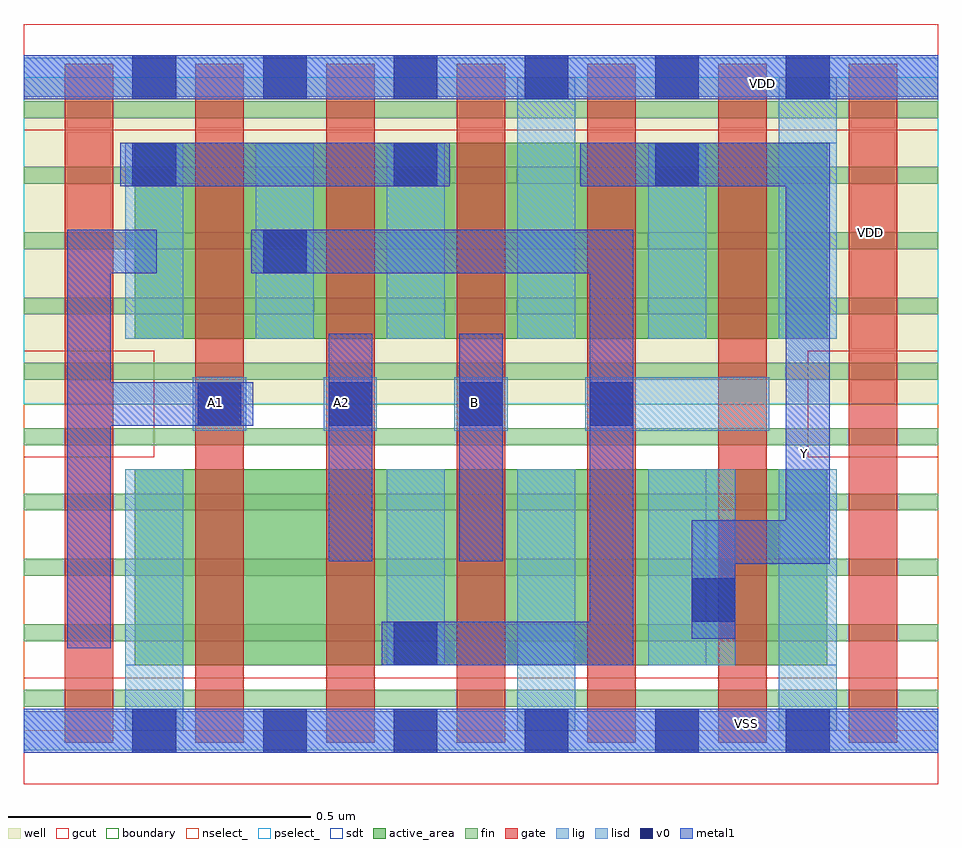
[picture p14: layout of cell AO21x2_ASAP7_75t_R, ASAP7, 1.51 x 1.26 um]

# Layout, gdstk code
import gdstk
lib = gdstk.Library(unit=1e-6, precision=2.5e-10)
def R(c, l, rs):  # rectangles x0, y0, x1, y1
    for r in rs: c.add(gdstk.rectangle(r[:2], r[2:], *l))
def A(c, l, x, y, w, h, nx, ny, dx, dy):  # array of equal rectangles
    R(c, l, [(x+i*dx, y+j*dy, x+i*dx+w, y+j*dy+h) for i in range(nx) for j in range(ny)])
def P(c, l, *ps):  # polygons
    for p in ps: c.add(gdstk.Polygon(p, *l))
well = (1, 0)
fin = (2, 0)
gate = (7, 0)
gcut = (10, 0)
active_area = (11, 0)
nselect_ = (12, 0)
pselect_ = (13, 0)
lig = (16, 0)
lisd = (17, 0)
v0 = (18, 0)
metal1 = (19, 0)
sdt = (88, 0)
boundary = (100, 0)

ao21x2_asap7_75t_r = lib.new_cell('AO21x2_ASAP7_75t_R')
R(ao21x2_asap7_75t_r, well, [(0,0.54,1.512,1.08)])
A(ao21x2_asap7_75t_r, fin, 0, 0.04, 1.512, 0.028, 1, 10, 0, 0.108)
A(ao21x2_asap7_75t_r, gate, 0.068, -0.02, 0.08, 1.122, 4, 1, 0.216, 0)
A(ao21x2_asap7_75t_r, gate, 0.932, -0.02, 0.08, 1.122, 3, 1, 0.216, 0)
R(ao21x2_asap7_75t_r, gate, [(0.716,-0.02,0.796,1.102), (0.932,-0.02,1.012,1.102)])
R(ao21x2_asap7_75t_r, gcut, [(0,-0.088,1.512,0.088), (0,0.452,0.216,0.628), (1.296,0.452,1.512,0.628), (0,0.992,1.512,1.168)])
R(ao21x2_asap7_75t_r, active_area, [(0.184,0.108,1.328,0.432), (0.184,0.648,1.328,0.972)])
R(ao21x2_asap7_75t_r, nselect_, [(0,0,1.512,0.54)])
R(ao21x2_asap7_75t_r, pselect_, [(0,0.54,1.512,1.08)])
A(ao21x2_asap7_75t_r, lig, 0.28, 0.496, 0.088, 0.088, 3, 1, 0.216, 0)
R(ao21x2_asap7_75t_r, lig, [(0,-0.032,1.512,0.032), (0.928,0.496,1.232,0.584), (0,1.048,1.512,1.112)])
A(ao21x2_asap7_75t_r, lisd, 0.168, 0.648, 0.096, 0.324, 5, 1, 0.216, 0)
R(ao21x2_asap7_75t_r, lisd, [(0.168,0,0.264,0.432), (0.816,0,0.912,0.432), (1.248,0,1.344,0.432), (0.168,0.108,0.264,0.432), (0.6,0.108,0.696,0.432), (0.816,0.108,0.912,0.324), (1.032,0.108,1.176,0.432), (1.248,0.108,1.344,0.432), (0.816,0.648,0.912,1.08), (0.816,0.648,0.912,1.08), (1.248,0.648,1.344,1.08)])
A(ao21x2_asap7_75t_r, v0, 0.18, -0.036, 0.072, 0.072, 3, 2, 0.216, 1.08)
A(ao21x2_asap7_75t_r, v0, 0.828, -0.036, 0.072, 0.072, 3, 2, 0.216, 1.08)
A(ao21x2_asap7_75t_r, v0, 0.288, 0.504, 0.072, 0.072, 4, 1, 0.216, 0)
A(ao21x2_asap7_75t_r, v0, 0.18, 0.9, 0.072, 0.072, 3, 1, 0.432, 0)
R(ao21x2_asap7_75t_r, v0, [(0.612,-0.036,0.684,0.036), (0.828,-0.036,0.9,0.036), (0.612,0.108,0.684,0.18), (1.104,0.18,1.176,0.252), (0.396,0.756,0.468,0.828), (0.612,1.044,0.684,1.116), (0.828,1.044,0.9,1.116)])
R(ao21x2_asap7_75t_r, metal1, [(0,-0.036,1.512,0.036), (0.504,0.28,0.576,0.656), (0.72,0.28,0.792,0.656), (0.16,0.9,0.704,0.972), (0,1.044,1.512,1.116)])
P(ao21x2_asap7_75t_r, metal1, [(1.104,0.152),(1.104,0.348),(1.26,0.348),(1.26,0.9),(0.92,0.9),(0.92,0.972),(1.332,0.972),(1.332,0.276),(1.176,0.276),(1.176,0.152)],
  [(0.592,0.108),(0.592,0.18),(0.936,0.18),(0.936,0.756),(0.376,0.756),(0.376,0.828),(1.008,0.828),(1.008,0.108)],
  [(0.072,0.136),(0.072,0.828),(0.22,0.828),(0.22,0.756),(0.144,0.756),(0.144,0.576),(0.38,0.576),(0.38,0.504),(0.144,0.504),(0.144,0.136)])
A(ao21x2_asap7_75t_r, sdt, 0.6, 0.108, 0.096, 0.324, 4, 1, 0.216, 0)
A(ao21x2_asap7_75t_r, sdt, 0.168, 0.648, 0.096, 0.324, 4, 1, 0.216, 0)
A(ao21x2_asap7_75t_r, sdt, 0.816, 0.648, 0.096, 0.324, 3, 1, 0.216, 0)
R(ao21x2_asap7_75t_r, sdt, [(0.168,0.108,0.264,0.432), (0.816,0.108,0.912,0.324)])
R(ao21x2_asap7_75t_r, boundary, [(0,0,1.512,1.08)])
ao21x2_asap7_75t_r.add(gdstk.Label('A2', (0.526,0.542), layer=19, texttype=251))
ao21x2_asap7_75t_r.add(gdstk.Label('Y', (1.29,0.458), layer=19, texttype=251))
ao21x2_asap7_75t_r.add(gdstk.Label('VDD', (1.222,1.07), layer=19, texttype=251))
ao21x2_asap7_75t_r.add(gdstk.Label('VSS', (1.194,0.012), layer=19, texttype=251))
ao21x2_asap7_75t_r.add(gdstk.Label('B', (0.746,0.542), layer=19, texttype=251))
ao21x2_asap7_75t_r.add(gdstk.Label('A1', (0.318,0.542), layer=19, texttype=251))
ao21x2_asap7_75t_r.add(gdstk.Label('VDD', (1.4,0.824), layer=1, texttype=251))
ao21x2_asap7_75t_r.add(gdstk.Label('VSS', (1.148,-0.16), layer=3, texttype=251))

lib.write_gds('AO21x2_ASAP7_75t_R.gds')
